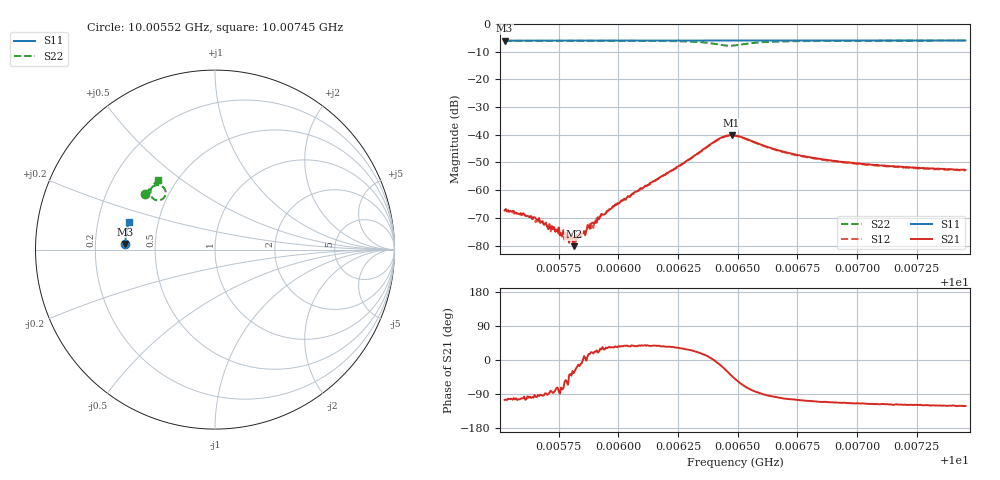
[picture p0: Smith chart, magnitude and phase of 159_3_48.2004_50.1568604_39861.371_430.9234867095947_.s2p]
#  HZ  S  RI  R  50.00
! Rohde & Schwarz Vector Network Analyzer
! Rohde-Schwarz,ZNB20-2Port,1311601062101988,3.16
! Created: UTC 3/20/2024, 11:43:09 AM
! freq[Hz]  re:S11  im:S11  re:S21  im:S21  re:S12  im:S12  re:S22  im:S22
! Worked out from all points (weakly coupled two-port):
!   401 points, 10.00552 GHz to 10.00745 GHz, reference 50 ohm
!   highest |S21| = -40.14 dB at 10.00647 GHz (marker M1); lowest = -80.2 dB at 10.00581 GHz (marker M2)
!   lowest |S11| = -6.0 dB at 10.00552 GHz (marker M3), VSWR 3.01, Z = 16.7 + j1.4 ohm
!   |S11| at or under -10 dB: nowhere
!   |S22| runs from -7.8 to -6.0 dB; largest |S21 - S12| = 0.00059
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1.0005524e10  -0.4996 0.0315  -0.000113 -0.000417  -8.52e-05 -0.000411  -0.3891 0.3089
1.0005606e10  -0.4995 0.037  -4.14e-05 -0.000365  -2.33e-05 -0.000361  -0.3854 0.3138
1.0005659e10  -0.4993 0.0404  -3.79e-05 -0.00029  -4.37e-05 -0.000278  -0.3828 0.317
1.0005702e10  -0.4991 0.0433  -7.78e-06 -0.000219  1.3e-05 -0.00022  -0.3808 0.3196
1.0005765e10  -0.4988 0.0473  3.16e-05 -0.000146  7.85e-05 -0.000122  -0.3775 0.3236
1.0005799e10  -0.4987 0.0494  0.00012 -9e-05  0.000131 -9.06e-05  -0.3757 0.3257
1.0005804e10  -0.4987 0.0498  0.000104 -9.13e-05  0.000127 -0.000105  -0.3756 0.3259
1.0005813e10  -0.4986 0.0503  8.02e-05 -5.53e-05  0.000106 -6.45e-05  -0.3749 0.3265
1.0005823e10  -0.4987 0.051  0.000121 -4.99e-05  0.000113 -3.69e-05  -0.3743 0.3273
1.0005847e10  -0.4986 0.0525  0.000159 -2.26e-05  0.000155 1.61e-06  -0.3731 0.3288
1.0005881e10  -0.4984 0.0548  0.000193 5.52e-05  0.000234 7.46e-05  -0.371 0.331
1.0005895e10  -0.4983 0.0558  0.000248 7.69e-05  0.000187 8.88e-05  -0.3702 0.3319
1.0005924e10  -0.4981 0.0576  0.00029 0.000169  0.000294 0.000163  -0.3683 0.3338
1.0005972e10  -0.4979 0.0609  0.000394 0.000262  0.000383 0.000297  -0.3652 0.3371
1.000617e10  -0.4964 0.0735  0.00131 0.00102  0.00126 0.00101  -0.3465 0.3517
1.0006416e10  -0.4936 0.0893  0.00814 -0.00112  0.00799 -0.000658  -0.2764 0.3281
1.0006474e10  -0.4931 0.0924  0.00739 -0.00651  0.00754 -0.00595  -0.2929 0.2813
1.0006489e10  -0.493 0.0933  0.00627 -0.00743  0.00654 -0.00694  -0.3048 0.2757
1.0006677e10  -0.4917 0.1052  -0.000871 -0.00506  -0.000623 -0.00501  -0.3596 0.323
1.0006812e10  -0.4901 0.1139  -0.00123 -0.00364  -0.00102 -0.00365  -0.3537 0.3435
1.0007135e10  -0.4857 0.1344  -0.00126 -0.0024  -0.00114 -0.00245  -0.3359 0.3695
1.0007454e10  -0.4805 0.1542  -0.0012 -0.00197  -0.0011 -0.00196  -0.3192 0.3871
